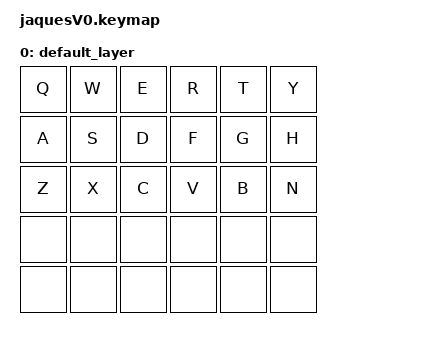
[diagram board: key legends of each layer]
#include <behaviors.dtsi>
#include <dt-bindings/zmk/keys.h>
#include <dt-bindings/zmk/bt.h>
#include <dt-bindings/zmk/rgb.h>
#include <dt-bindings/zmk/ext_power.h>
#include <dt-bindings/zmk/outputs.h>



/ {
    keymap {
        compatible = "zmk,keymap";
        default_layer {
            bindings = <
                &kp Q     &kp W     &kp E     &kp R     &kp T     &kp Y
                &kp A     &kp S     &kp D     &kp F     &kp G     &kp H
                &kp Z     &kp X     &kp C     &kp V     &kp B     &kp N
                &none     &none     &none     &none     &none     &none
                &none     &none     &none     &none     &none     &none

             /*   &kp ESC     &kp N1    &kp N2    &kp N3    &kp N4    &kp N5
                &kp TAB     &kp Q     &kp W     &kp E     &kp R     &kp T
                &kp LSHFT   &kp A     &kp S     &kp D     &kp F     &kp G
                &kp LCTRL   &kp Z     &kp X     &kp C     &kp V     &kp B
                &kp LGUI    &kp LALT  &none     &none     &kp SPACE &none      &mo 1     ativa camada 1 (bt_layer)*/
            >;
        };
    };
};
